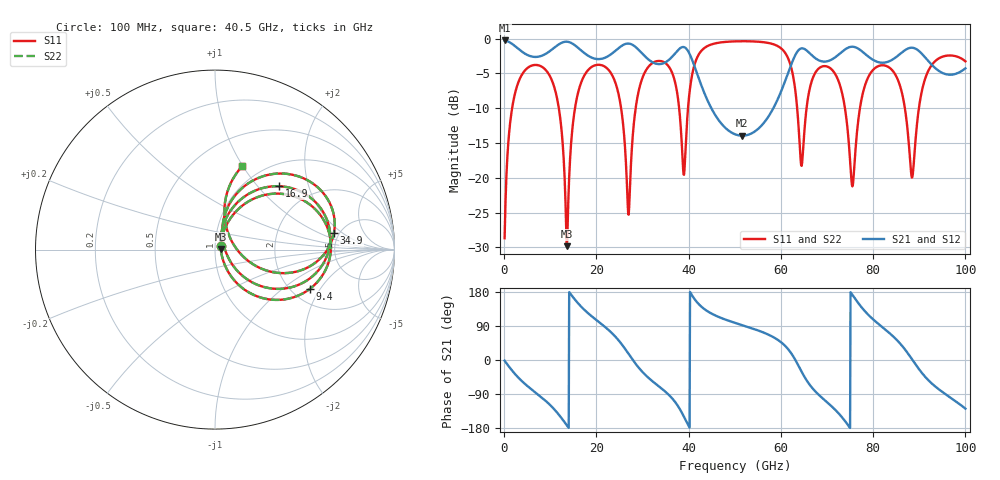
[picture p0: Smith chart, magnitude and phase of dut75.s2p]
! Touchstone file exported from HFSS 2026.1.0
!  File:  C:/ffzhzh/LocalFiles/Ansys_Project_Files/temp_train_TSV_RDL_75_1783628022_26216.aedt
!  Generated:  04:36:37 AM Jul 10, 2026
!  Design:  TSV_RDL
!  Project:  temp_train_TSV_RDL_75_1783628022_26216
! Variables:
!  h_bsmrdl = 2.94um
!  h_ox = 20um
!  h_rdl = 5um
!  h_sub = 69.1um
!  h_tmrdl = 3.2um
!  h_tsv = 69.1um
!  h_via = 3um
!  l_bsmrdl = 428.88um
!  l_sub = 4250.86um
!  l_tmrdl = 610.62um
!  m_sub = 200um
!  pitch = 56.93um
!  r_tsv = 6.51um
!  s_tmrdl = 10um
!  w_bsmrdl = 29.35um
!  w_sub = 500um
!  w_tmrdl = 11.23um
!  x_tsv_center1 = 616.235um
!  x_tsv_center2 = 1074.465um
!  x_tsv_center3 = 1696.315um
!  x_tsv_center4 = 2154.545um
!  x_tsv_center5 = 2776.395um
!  x_tsv_center6 = 3234.625um
# GHz S MA R 50.000000
! Terminal data exported
! Port[1] = TM_RDL1_1_T1
! Port[2] = TM_RDL5_1_T1
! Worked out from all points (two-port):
!   1000 points, 100 MHz to 100 GHz, reference 50 ohm
!   highest |S21| = -0.27 dB at 100 MHz (marker M1); lowest = -14.0 dB at 51.6 GHz (marker M2)
!   |S21| within 3 dB of the highest: start of sweep to 31.83 GHz; 70.01 GHz to 80.62 GHz (10.61 GHz wide, 14.1 % of centre) (the widest 2 of 5)
!   lowest |S11| = -29.8 dB at 13.6 GHz (marker M3), VSWR 1.07, Z = 53.3 + j0.324 ohm
!   |S11| at or under -10 dB: 11.85 GHz to 15.36 GHz (3.508 GHz wide, 25.8 % of centre); 25.36 GHz to 28.51 GHz (3.159 GHz wide, 11.7 % of centre); 73.89 GHz to 77.14 GHz (3.249 GHz wide, 4.3 % of centre) (the widest 3 of 7)
!   |S22| runs from -29.8 to -0.4 dB; largest |S21 - S12| = 1.2e-12
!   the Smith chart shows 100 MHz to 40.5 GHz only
!   S11 on the Smith chart (normalised r, x): 100 MHz: 1.06, +0.04; 9.4 GHz: 2.51, -1.62; 16.9 GHz: 1.39, +1.32; 34.9 GHz: 4.52, +1.50; 40.5 GHz: 0.81, +1.00
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0.1  0.03675 32.5  0.9694 -1.7  0.9694 -1.7  0.03675 32.5
! Gamma 0 0 0 0
! Port Impedance 50 0 50 0
2.7  0.4449 44.3  0.864 -41.6  0.864 -41.6  0.4449 44.3
9.4  0.5732 -22.3  0.7911 -112.2  0.7911 -112.2  0.5732 -22.3
13.6  0.03222 5.4  0.9497 -172.5  0.9497 -172.5  0.03238 5.4
16.8  0.4935 45.7  0.8162 139.5  0.8162 139.5  0.4935 45.7
16.9  0.5028 44.6  0.8109 138.3  0.8109 138.3  0.5029 44.6
23.7  0.5222 -20.8  0.7958 66.9  0.7958 66.9  0.5222 -20.9
27.2  0.0741 54.9  0.9187 12.3  0.9187 12.3  0.07398 55.0
33.4  0.6907 20.9  0.6558 -68.2  0.6558 -68.2  0.6907 20.9
34.9  0.6689 7.9  0.6728 -83.1  0.6728 -83.1  0.6689 7.9
38.9  0.1057 18.7  0.8696 -147.7  0.8696 -147.7  0.106 18.7
40.5  0.4905 71.9  0.7377 175.3  0.7377 175.3  0.4905 71.8
50.1  0.9552 6.6  0.2049 97.8  0.2049 97.8  0.9552 6.5
51.6  0.9571 1.3  0.2004 92.0  0.2004 92.0  0.9571 1.3
61.4  0.7414 -51.5  0.5472 31.0  0.5472 31.0  0.7414 -51.5
64.5  0.1217 -23.4  0.8504 -31.1  0.8504 -31.1  0.1211 -23.4
66.7  0.4965 9.8  0.7592 -72.4  0.7592 -72.4  0.4964 9.9
75.1  0.1186 -45.2  0.8716 178.9  0.8716 178.9  0.1188 -45.0
83.4  0.6224 -15.7  0.685 72.5  0.685 72.5  0.6224 -15.8
88.8  0.1262 32.1  0.856 -4.6  0.856 -4.6  0.1249 32.5
92.1  0.5993 28.5  0.6813 -54.9  0.6813 -54.9  0.5991 28.6
100  0.6866 -34.6  0.6111 -128.4  0.6111 -128.4  0.6868 -34.6
